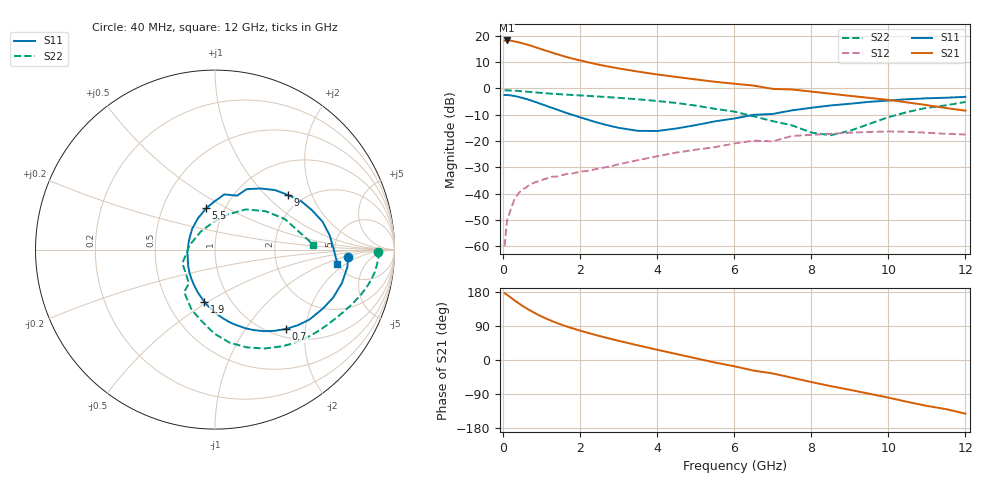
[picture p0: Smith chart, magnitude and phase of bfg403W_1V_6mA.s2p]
! Filename: 16bfg403.001
! BFG403W Field A2
! V1=9.150E-001V,V2=1.000E+000V, I1=1.144E-004A, I2=6.010E-003A
# GHz  S  MA  R 50
!  S11  S21  S12  S22
!Freq(GHz)  Mag  Ang  Mag  Ang  Mag  Ang  Mag  Ang
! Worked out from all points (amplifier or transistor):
!   44 points, 40 MHz to 12 GHz, reference 50 ohm
!   highest |S21| = 18.1 dB at 100 MHz (marker M1)
!   |S21| within 3 dB of that: start of sweep to 930.1 MHz
!   unconditionally stable (mu >= 1): start of sweep to 249.9 MHz; 552 MHz to end of sweep
!   at 700 MHz: K = 1.10, MAG = 24.5 dB, |S12| = -36.5 dB
!   at 2.4 GHz: K = 2.88, MAG = 12.5 dB, |S12| = -30.8 dB
!   at 12 GHz: K = 3.95, MAG = -4.4 dB, |S12| = -17.6 dB
!   S11 on the Smith chart (normalised r, x): 40 MHz: 6.55, -1.21; 700 MHz: 1.16, -1.58; 1.9 GHz: 0.76, -0.48; 5.5 GHz: 0.82, +0.40; 9 GHz: 1.66, +1.36; 12 GHz: 4.92, -1.45
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0.04  0.743 -3.2  8.004 176.5  0.001 42.5  0.91 -0.7
0.1  0.744 -7.5  8.079 172.4  0.003 83.6  0.912 -2.6
0.2  0.731 -14.8  8.013 164.8  0.005 77.9  0.906 -5.5
0.3  0.711 -22.0  7.741 157.0  0.008 73.8  0.898 -8.3
0.4  0.686 -28.4  7.456 150.2  0.01 69.7  0.887 -10.7
0.5  0.655 -36.5  7.142 143.1  0.012 65.2  0.875 -13.1
0.7  0.594 -48.0  6.498 131.0  0.015 59.0  0.85 -17.3
0.8  0.561 -53.8  6.163 125.2  0.016 56.6  0.837 -19.2
1  0.498 -64.3  5.495 114.8  0.018 52.6  0.814 -22.9
1.3  0.417 -77.9  4.675 101.5  0.021 49.2  0.784 -27.8
1.6  0.348 -90.3  4.011 90.3  0.023 47.7  0.759 -32.5
1.9  0.296 -101.7  3.509 80.5  0.025 47.5  0.737 -37.3
2.2  0.253 -113.1  3.115 71.7  0.027 47.8  0.716 -42.0
3  0.177 -147.3  2.378 50.6  0.036 48.1  0.657 -55.0
3.5  0.155 -173.2  2.069 38.6  0.043 46.4  0.616 -63.5
4.5  0.172 137.9  1.635 15.8  0.06 38.8  0.524 -81.2
5.5  0.235 102.2  1.326 -6.7  0.076 25.3  0.406 -100.5
6.5  0.312 80.4  1.123 -27.9  0.101 9.8  0.293 -126.0
8.5  0.471 44.8  0.787 -68.9  0.136 -23.9  0.128 128.5
9  0.507 37.0  0.717 -78.6  0.143 -32.9  0.155 92.8
10.5  0.619 14.6  0.537 -110.5  0.149 -67.8  0.354 37.2
12  0.686 -6.5  0.375 -141.6  0.132 -103.1  0.548 2.9
